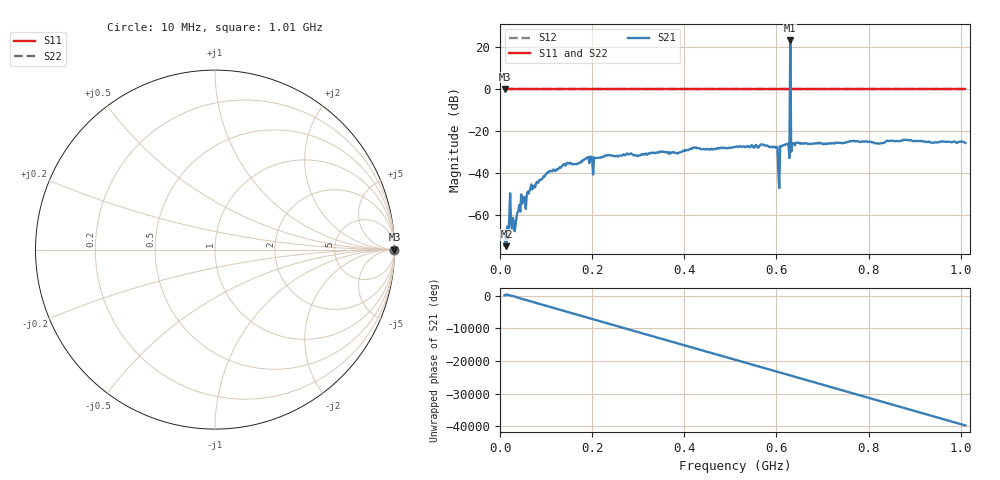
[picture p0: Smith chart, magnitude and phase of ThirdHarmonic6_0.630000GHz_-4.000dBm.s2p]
! 8/15/2025 8:46:10 PM
! C:\ANRITSUVNA\TEMP\TEMP.S2P
! CHANNEL.1
! TR.MEASUREMENT
! RAW.DATA
! RF.CORRECTION.OFF
! AVERAGING.OFF
! IF.BANDWIDTH: 5KHZ
! SWEEPTYPE:  FREQ.SWEEP(Linear)
! Reference Plane Port Info
! PORT:  PORT1  PORT2
! DISTANCE:  0  m  0  m
! TIME:  0  s  0  s
! PHASE.OFFSET:  0  deg.  0  deg.
! LOSS:  0  dB  0  dB
! REF.LOSS:  0  dB  0  dB
! REF.FREQ:  0  Hz  0  Hz
! Power Info
! POWER:  -20  dBm  -20  dBm
! EFF.POWER:  -20  dBm  -20  dBm
! SOURCE.ATTEN:  0  dB  0  dB
! TEST.ATTEN:  0  dB  0  dB
# GHZ S RI R 50.0
! FREQ.GHZ  S11RE  S11IM  S21RE  S21IM  S12RE  S12IM  S22RE  S22IM
!; PortSelection: Port_12
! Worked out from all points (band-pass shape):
!   501 points, 10 MHz to 1.01 GHz, reference 50 ohm
!   highest |S21| = 23.07 dB at 630 MHz (marker M1); lowest = -74.8 dB at 14 MHz (marker M2)
!   |S21| within 3 dB of the highest: 629.8928 MHz to 630.1134 MHz (220.6 kHz wide, 0.035 % of centre)
!   lowest |S11| = 0.0 dB at 10 MHz (marker M3)
!   |S11| at or under -10 dB: nowhere
!   |S22| runs from 0.0 to 0.0 dB; largest |S21 - S12| = 14
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0.01  1 0  -8.77e-05 0.000166  1 0  1 0
0.014  1 0  -9.42e-05 0.000155  1 0  1 0
0.02  1 0  -0.0004 0.000705  1 0  1 0
0.03  1 0  -0.000433 0.000531  1 0  1 0
0.05  1 0  0.00204 -0.000705  1 0  1 0
0.07  1 0  -0.00146 -0.0038  1 0  1 0
0.106  1 0  -0.00765 -0.00715  1 0  1 0
0.178  1 0  -0.0184 -0.0037  1 0  1 0
0.344  1 0  0.0294 -0.00769  1 0  1 0
0.51  1 0  -0.0376 0.0178  1 0  1 0
0.598  1 0  -0.0329 -0.0222  1 0  1 0
0.602  1 0  0.023 0.0347  1 0  1 0
0.608  1 0  -0.0431 -0.00246  1 0  1 0
0.612  1 0  0.0415 0.0173  1 0  1 0
0.624  1 0  -0.0114 -0.0474  1 0  1 0
0.626  1 0  -0.05 0.00427  1 0  1 0
0.63  1 0  9.25 10.82  1 0  1 0
0.634  1 0  -0.0434 -0.0259  1 0  1 0
0.636  1 0  -0.0336 0.0382  1 0  1 0
0.678  1 0  -0.0271 -0.0421  1 0  1 0
0.844  1 0  0.0464 0.034  1 0  1 0
1.01  1 0  -0.0515 -0.00385  1 0  1 0
